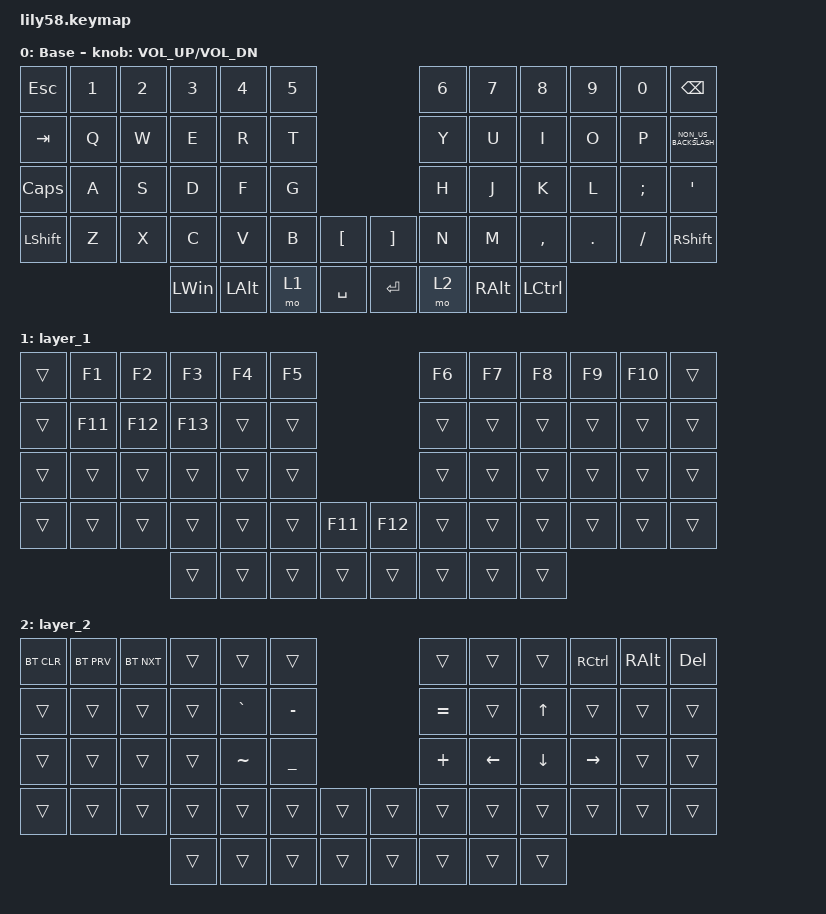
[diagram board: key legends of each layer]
/*
 * Copyright (c) 2020 The ZMK Contributors
 *
 * SPDX-License-Identifier: MIT
 */

#include <behaviors.dtsi>
#include <dt-bindings/zmk/bt.h>
#include <dt-bindings/zmk/keys.h>

/ {
    keymap {
        compatible = "zmk,keymap";

        default_layer {
            // ------------------------------------------------------------------------------------------------------------
            // |  ESC  |  1  |  2  |  3   |  4   |  5   |                   |  6   |  7    |  8    |  9   |   0   |   `   |
            // |  TAB  |  Q  |  W  |  E   |  R   |  T   |                   |  Y   |  U    |  I    |  O   |   P   |   -   |
            // |  CTRL |  A  |  S  |  D   |  F   |  G   |                   |  H   |  J    |  K    |  L   |   ;   |   '   |
            // | SHIFT |  Z  |  X  |  C   |  V   |  B   |   "["  |  |  "]"  |  N   |  M    |  ,    |  .   |   /   | SHIFT |
            //                     | ALT  | GUI  | LOWER|  SPACE |  | ENTER | RAISE| BSPC  | GUI   |

            display-name = "Base";
            bindings = <
&kp ESC         &kp N1  &kp N2  &kp N3        &kp N4        &kp N5                          &kp N6  &kp N7         &kp N8            &kp N9   &kp N0    &kp BACKSPACE
&kp TAB         &kp Q   &kp W   &kp E         &kp R         &kp T                           &kp Y   &kp U          &kp I             &kp O    &kp P     &kp NON_US_BACKSLASH
&kp CAPSLOCK    &kp A   &kp S   &kp D         &kp F         &kp G                           &kp H   &kp J          &kp K             &kp L    &kp SEMI  &kp SQT
&kp LEFT_SHIFT  &kp Z   &kp X   &kp C         &kp V         &kp B   &kp LBKT     &kp RBKT   &kp N   &kp M          &kp COMMA         &kp DOT  &kp FSLH  &kp RSHFT
                                &kp LEFT_WIN  &kp LEFT_ALT  &mo 1   &kp SPACE    &kp ENTER  &mo 2   &kp RIGHT_ALT  &kp LEFT_CONTROL
            >;

            sensor-bindings = <&inc_dec_kp C_VOL_UP C_VOL_DN>;
        };

        layer_1 {
            bindings = <
&trans  &kp F1   &kp F2   &kp F3   &kp F4  &kp F5                      &kp F6  &kp F7  &kp F8  &kp F9  &kp F10  &trans
&trans  &kp F11  &kp F12  &kp F13  &trans  &trans                      &trans  &trans  &trans  &trans  &trans   &trans
&trans  &trans   &trans   &trans   &trans  &trans                      &trans  &trans  &trans  &trans  &trans   &trans
&trans  &trans   &trans   &trans   &trans  &trans  &kp F11    &kp F12  &trans  &trans  &trans  &trans  &trans   &trans
                          &trans   &trans  &trans  &trans     &trans   &trans  &trans  &trans
            >;
        };

        layer_2 {
            bindings = <
&bt BT_CLR  &bt BT_PRV  &bt BT_NXT  &trans  &trans     &trans                       &trans     &trans          &trans          &kp RIGHT_CONTROL  &kp RIGHT_ALT  &kp DELETE
&trans      &trans      &trans      &trans  &kp GRAVE  &kp MINUS                    &kp EQUAL  &trans          &kp UP_ARROW    &trans             &trans         &trans
&trans      &trans      &trans      &trans  &kp TILDE  &kp UNDER                    &kp PLUS   &kp LEFT_ARROW  &kp DOWN_ARROW  &kp RIGHT_ARROW    &trans         &trans
&trans      &trans      &trans      &trans  &trans     &trans     &trans    &trans  &trans     &trans          &trans          &trans             &trans         &trans
                                    &trans  &trans     &trans     &trans    &trans  &trans     &trans          &trans
            >;
        };
    };
};
